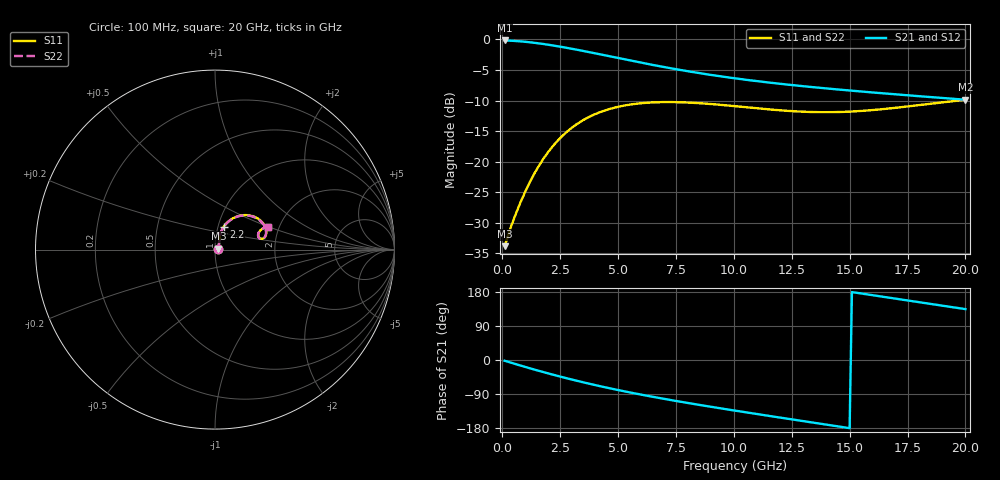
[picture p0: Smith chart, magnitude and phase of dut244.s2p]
! Touchstone file exported from HFSS 2024.1.0
!  File:  C:/UserFiles/LocalFiles/RDL_TSV_Batchsim/temp_RDL_TSV_244_1779454731.aedt
!  Generated:  09:16:43 PM May 22, 2026
!  Design:  RDL_TSV
!  Project:  temp_RDL_TSV_244_1779454731
!  Setup:  Setup1
!  Solution:  Sweep
! Variables:
!  dtsv = 8.13um
!  hbump = 3um
!  htsv = 51.09um
!  ldown = 517.75um
!  lrdl = 521.32um
!  p = 40
!  p1 = 53.85um
!  rhole = 10um
!  subl = 3638.53um
!  t = 450um
!  tdown = 2.45um
!  trdl = 4.45um
!  viad = 10um
!  wdown = 17.25um
!  wrdl = 29.04um
!  xbump = 18um
# GHz S MA R 50.000000
! Terminal data exported
! Port[1] = TM1_1_T1
! Port[2] = TM1_4_T1
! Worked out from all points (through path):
!   200 points, 100 MHz to 20 GHz, reference 50 ohm
!   highest |S21| = -0.17 dB at 100 MHz (marker M1); lowest = -9.9 dB at 20 GHz (marker M2)
!   group delay of S21, straight-line fit = 29.5 ps
!   lowest |S11| = -33.8 dB at 100 MHz (marker M3), VSWR 1.04, Z = 52 + j0.619 ohm
!   |S11| at or under -10 dB: start of sweep to 19.71 GHz
!   |S22| runs from -33.8 to -9.9 dB; largest |S21 - S12| = 3.9e-14
!   S11 on the Smith chart (normalised r, x): 100 MHz: 1.04, +0.01; 2.2 GHz: 1.06, +0.27; 20 GHz: 1.75, +0.49
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0.1  0.02037 17.0  0.9803 -1.9  0.9803 -1.9  0.02037 17.0
! Gamma 0 0 0 0
! Port Impedance 50 0 50 0
0.4  0.03025 44.6  0.975 -7.6  0.975 -7.6  0.03027 44.6
0.6  0.03812 54.5  0.9699 -11.2  0.9699 -11.2  0.03814 54.4
1.1  0.06287 67.6  0.9518 -20.3  0.9518 -20.3  0.06285 67.4
1.6  0.0938 71.2  0.927 -29.0  0.927 -29.0  0.09365 70.9
2.2  0.1352 69.2  0.8915 -39.0  0.8915 -39.0  0.1348 69.0
2.8  0.1763 64.2  0.8521 -48.5  0.8521 -48.5  0.1757 63.9
3.5  0.2191 56.9  0.8042 -59.0  0.8042 -59.0  0.2181 56.6
4.2  0.2532 49.4  0.7565 -68.8  0.7565 -68.8  0.252 49.1
4.9  0.2781 42.4  0.7106 -78.0  0.7106 -78.0  0.2766 42.1
5.8  0.2979 34.3  0.6562 -89.1  0.6562 -89.1  0.2962 34.1
6.8  0.3067 26.9  0.6031 -100.5  0.6031 -100.5  0.3047 26.7
7.5  0.3068 22.7  0.5705 -108.1  0.5705 -108.1  0.3046 22.5
8.3  0.3026 18.9  0.5378 -116.4  0.5378 -116.4  0.3003 18.6
9.2  0.2942 15.7  0.5061 -125.3  0.5061 -125.3  0.2918 15.4
10.1  0.2839 13.7  0.4789 -134.1  0.4789 -134.1  0.2814 13.5
11.7  0.2659 13.0  0.4397 -149.2  0.4397 -149.2  0.2634 12.8
13.4  0.2547 15.6  0.4071 -165.0  0.4071 -165.0  0.2522 15.4
15  0.2567 19.4  0.382 -179.9  0.382 -179.9  0.2544 19.3
16.7  0.2722 22.7  0.359 164.4  0.359 164.4  0.27 22.7
18.4  0.2962 23.9  0.3386 148.8  0.3386 148.8  0.2942 23.8
20  0.3205 22.9  0.3212 134.3  0.3212 134.3  0.3185 22.8
